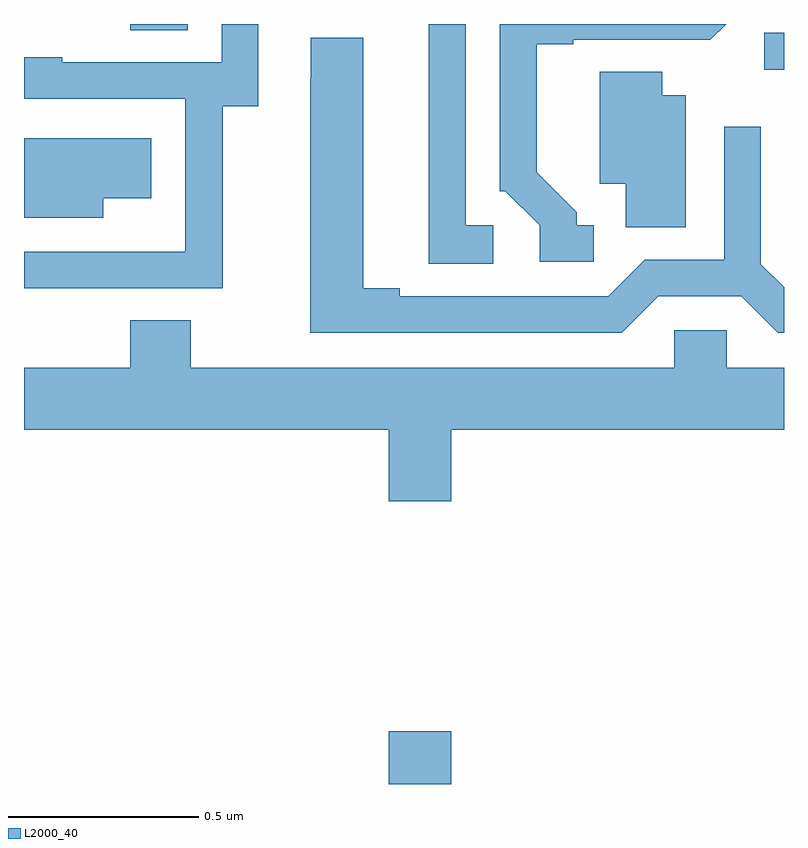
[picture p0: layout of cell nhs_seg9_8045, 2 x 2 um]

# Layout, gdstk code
import gdstk
lib = gdstk.Library(unit=1e-6, precision=1e-09)
def R(c, l, rs):  # rectangles x0, y0, x1, y1
    for r in rs: c.add(gdstk.rectangle(r[:2], r[2:], *l))
def P(c, l, *ps):  # polygons
    for p in ps: c.add(gdstk.Polygon(p, *l))
L2000_40 = (2000, 40)

nhs_seg9_8045 = lib.new_cell('nhs_seg9_8045')
R(nhs_seg9_8045, L2000_40, [(212.96,1183.5,213.124,1183.639), (213.948,1185.38,214,1185.477), (212.279,1185.484,212.431,1185.5)])
P(nhs_seg9_8045, L2000_40, [(213.499,1184.97),(213.454,1184.97),(213.454,1185.005),(213.349,1185.11),(213.349,1185.447),(213.445,1185.447),(213.445,1185.459),(213.71,1185.459),(213.71,1185.458),(213.806,1185.458),(213.848,1185.5),(213.252,1185.5),(213.252,1185.06),(213.267,1185.06),(213.357,1184.97),(213.357,1184.874),(213.499,1184.874)],
  [(212.523,1185.283),(212.617,1185.283),(212.617,1185.5),(212.52,1185.5),(212.52,1185.399),(212.101,1185.399),(212.101,1185.412),(212,1185.412),(212,1185.303),(212.424,1185.303),(212.424,1184.902),(212.423,1184.902),(212.423,1184.901),(212,1184.901),(212,1184.805),(212.523,1184.805)],
  [(213.235,1184.97),(213.162,1184.97),(213.162,1185.5),(213.065,1185.5),(213.065,1184.869),(213.235,1184.869)],
  [(213.669,1184.784),(213.887,1184.784),(213.983,1184.688),(214,1184.688),(214,1184.807),(213.939,1184.868),(213.939,1185.229),(213.843,1185.229),(213.843,1184.88),(213.633,1184.88),(213.537,1184.784),(212.989,1184.784),(212.989,1184.804),(212.893,1184.804),(212.893,1185.464),(212.754,1185.464),(212.754,1185.356),(212.753,1185.356),(212.753,1184.688),(213.573,1184.688)],
  [(213.742,1185.313),(213.679,1185.313),(213.679,1185.374),(213.515,1185.374),(213.515,1185.08),(213.584,1185.08),(213.584,1184.965),(213.742,1184.965)],
  [(212.209,1185.041),(212.335,1185.041),(212.335,1185.199),(212,1185.199),(212,1184.99),(212.209,1184.99)],
  [(213.124,1184.432),(214,1184.432),(214,1184.596),(213.849,1184.596),(213.849,1184.694),(213.711,1184.694),(213.711,1184.596),(212.439,1184.596),(212.439,1184.72),(212.279,1184.72),(212.279,1184.596),(212,1184.596),(212,1184.432),(212.96,1184.432),(212.96,1184.244),(213.124,1184.244)])

lib.write_gds('nhs_seg9_8045.gds')
